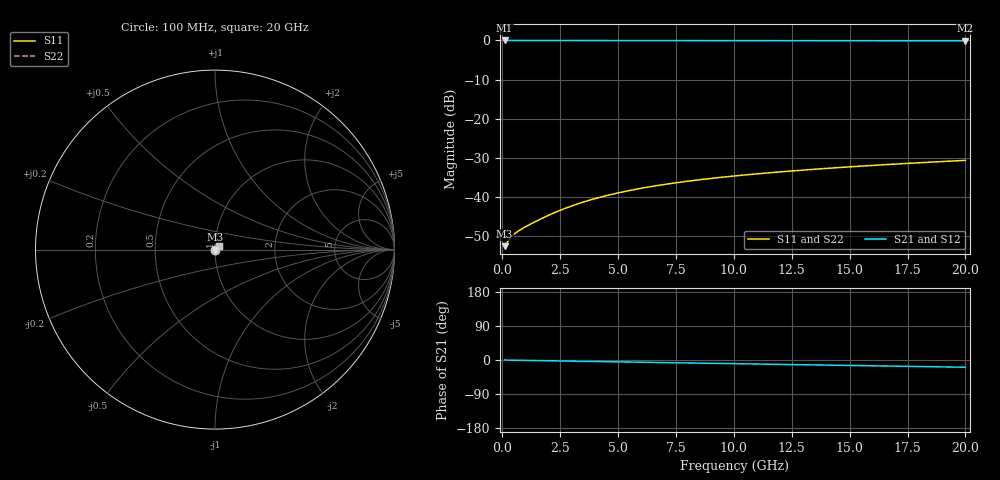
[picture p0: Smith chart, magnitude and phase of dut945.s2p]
! Touchstone file exported from HFSS 2026.1.0
!  File:  C:/ffzhzh/LocalFiles/Ansys_Project_Files/temp_train_TMRDL_945_1783158589_51560.aedt
!  Generated:  05:50:55 PM Jul  4, 2026
!  Design:  TMRDL
!  Project:  temp_train_TMRDL_945_1783158589_51560
! Variables:
!  h_bsmrdl = 2um
!  h_ox = 20um
!  h_rdl = 5um
!  h_sub = 80um
!  h_tmrdl = 4.45um
!  h_tsv = 80um
!  h_via = 3um
!  l_bsmrdl = 300um
!  l_sub = 743.95um
!  l_tmrdl = 343.95um
!  m_sub = 200um
!  pitch = 16.93um
!  r_tsv = 6um
!  s_tmrdl = 10um
!  w_bsmrdl = 18um
!  w_sub = 500um
!  w_tmrdl = 12.6um
!  x_tsv_center1 = 350.25um
!  x_tsv_center2 = 668.25um
!  x_tsv_center3 = 1024.8um
!  x_tsv_center4 = 1342.8um
!  x_tsv_center5 = 1699.35um
!  x_tsv_center6 = 2017.35um
# GHz S MA R 50.000000
! Terminal data exported
! Port[1] = TM_RDL1_1_T1
! Port[2] = TM_RDL1_1_T2
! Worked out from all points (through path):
!   200 points, 100 MHz to 20 GHz, reference 50 ohm
!   highest |S21| = -0.02 dB at 100 MHz (marker M1); lowest = -0.1 dB at 20 GHz (marker M2)
!   group delay of S21, straight-line fit = 2.64 ps
!   lowest |S11| = -52.6 dB at 100 MHz (marker M3), VSWR 1.00, Z = 50.2 + j0.0459 ohm
!   |S11| at or under -10 dB: start of sweep to end of sweep
!   |S22| runs from -52.6 to -30.7 dB; largest |S21 - S12| = 2.1e-15
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0.1  0.002355 11.2  0.9977 -0.1  0.9977 -0.1  0.002355 11.2
! Gamma 0 0 0 0
! Port Impedance 50 0 50 0
0.3  0.00287 23.6  0.9974 -0.3  0.9974 -0.3  0.00287 23.6
0.4  0.003117 26.5  0.9972 -0.4  0.9972 -0.4  0.003117 26.5
0.5  0.00333 28.7  0.9971 -0.5  0.9971 -0.5  0.00333 28.7
0.6  0.003517 30.5  0.997 -0.6  0.997 -0.6  0.003517 30.5
0.9  0.004005 35.5  0.9968 -0.9  0.9968 -0.9  0.004004 35.5
1.5  0.004969 43.8  0.9965 -1.5  0.9965 -1.5  0.004968 43.8
2.2  0.006207 49.9  0.9962 -2.2  0.9962 -2.2  0.006206 50.0
2.8  0.007319 53.0  0.9959 -2.8  0.9959 -2.8  0.007317 53.0
3.5  0.008619 54.8  0.9954 -3.5  0.9954 -3.5  0.008617 54.9
4.2  0.00989 55.7  0.995 -4.2  0.995 -4.2  0.009887 55.7
5  0.01128 55.9  0.9945 -5.0  0.9945 -5.0  0.01128 55.9
5.9  0.01277 55.6  0.9938 -5.8  0.9938 -5.8  0.01276 55.7
6.8  0.01416 55.1  0.9932 -6.7  0.9932 -6.7  0.01415 55.2
7.5  0.01519 54.6  0.9928 -7.4  0.9928 -7.4  0.01518 54.7
8.3  0.01631 54.0  0.9923 -8.1  0.9923 -8.1  0.01629 54.1
10.1  0.01865 52.6  0.9912 -9.8  0.9912 -9.8  0.01864 52.7
11.7  0.02059 51.4  0.9904 -11.3  0.9904 -11.3  0.02056 51.5
13.4  0.02252 50.2  0.9896 -12.9  0.9896 -12.9  0.02249 50.3
15  0.02427 49.0  0.9889 -14.4  0.9889 -14.4  0.02423 49.2
16.7  0.02605 47.8  0.9882 -16.0  0.9882 -16.0  0.02601 48.1
20  0.02936 45.5  0.9869 -19.1  0.9869 -19.1  0.02929 45.8
